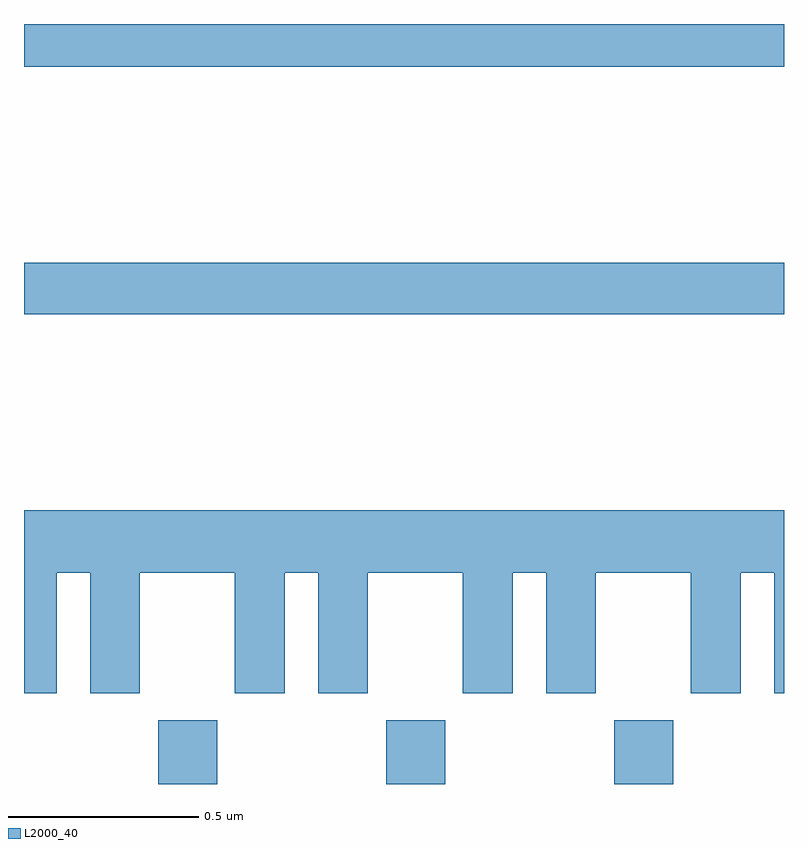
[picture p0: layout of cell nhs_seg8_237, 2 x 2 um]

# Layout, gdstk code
import gdstk
lib = gdstk.Library(unit=1e-6, precision=1e-09)
def R(c, l, rs):  # rectangles x0, y0, x1, y1
    for r in rs: c.add(gdstk.rectangle(r[:2], r[2:], *l))
def A(c, l, x, y, w, h, nx, ny, dx, dy):  # array of equal rectangles
    R(c, l, [(x+i*dx, y+j*dy, x+i*dx+w, y+j*dy+h) for i in range(nx) for j in range(ny)])
def P(c, l, *ps):  # polygons
    for p in ps: c.add(gdstk.Polygon(p, *l))
L2000_40 = (2000, 40)

nhs_seg8_237 = lib.new_cell('nhs_seg8_237')
A(nhs_seg8_237, L2000_40, 113.353, 1159.9, 0.155, 0.168, 3, 1, 0.6, 0)
R(nhs_seg8_237, L2000_40, [(113,1161.136,115,1161.272), (113,1161.788,115,1161.9)])
P(nhs_seg8_237, L2000_40, [(113.086,1160.456),(113.174,1160.456),(113.174,1160.139),(113.305,1160.139),(113.305,1160.456),(113.555,1160.456),(113.555,1160.139),(113.686,1160.139),(113.686,1160.456),(113.774,1160.456),(113.774,1160.139),(113.905,1160.139),(113.905,1160.456),(114.155,1160.456),(114.155,1160.139),(114.286,1160.139),(114.286,1160.456),(114.374,1160.456),(114.374,1160.139),(114.505,1160.139),(114.505,1160.456),(114.755,1160.456),(114.755,1160.139),(114.886,1160.139),(114.886,1160.456),(114.974,1160.456),(114.974,1160.139),(115,1160.139),(115,1160.62),(113,1160.62),(113,1160.139),(113.086,1160.139)])

lib.write_gds('nhs_seg8_237.gds')
